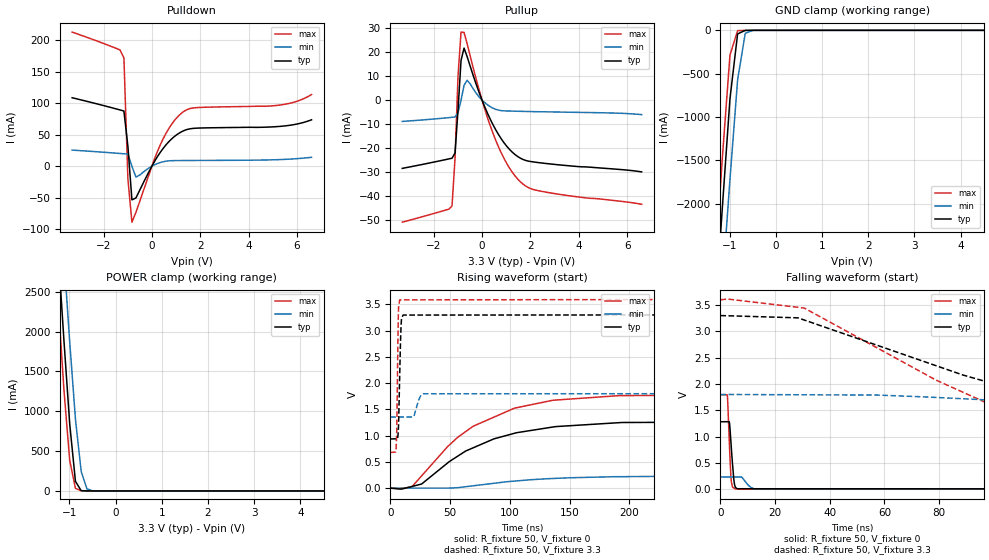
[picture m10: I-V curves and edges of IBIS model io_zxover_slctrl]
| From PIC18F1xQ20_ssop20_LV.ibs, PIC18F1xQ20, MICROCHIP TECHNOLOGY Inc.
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[Model] io_zxover_slctrl
Model_type I/O
Vinl  =  0.8
Vinh  =  2
| Capacitance   typ   min   max
C_comp   3.179356808695557e-12   3.178379229174377e-12   3.32087970022533e-12
[Model Spec]
| Subparameter   typ   min   max
Vinl   1.5   0.81   1.65
Vinh   3.6   1.89   3.85
Vmeas   2.5   1.35   2.75
| Variables   typ   min   max
[GND Clamp Reference]   0   0   0
[POWER Clamp Reference]   3.3   1.8   3.6
[Pulldown Reference]   0   0   0
[Pullup Reference]   3.3   1.8   3.6
[Temperature Range]   25   125   -40
[Voltage Range]   3.3   1.8   3.6
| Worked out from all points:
|   slope of the pulldown table from 0 to 0.495 V, typ, clamps not added: 16.7 ohm
|   slope of the pullup table from 0 to 0.495 V, typ, clamps not added: 44.8 ohm
|   GND clamp passes 1 mA (typ) near -0.66 V on its own axis
|   POWER clamp passes 1 mA (typ) near -0.65 V on its own axis
|   falling waveform, R_fixture 50, V_fixture 0: 20-80 % time 1.11ns typ, 2.39ns min, 875ps max; typ from 1.28 V to 0 V
|   falling waveform, R_fixture 50, V_fixture 3.3: 20-80 % time 95.4ns typ, 139ns min, 71ns max; typ from 3.3 V to 0.939 V
|   rising waveform, R_fixture 50, V_fixture 0: 20-80 % time 64.9ns typ, 68.4ns min, 64ns max; typ from 0 V to 1.28 V
|   rising waveform, R_fixture 50, V_fixture 3.3: 20-80 % time 1.47ns typ, 3.71ns min, 1ns max; typ from 0.936 V to 3.3 V
[GND Clamp]
| Voltage   I(typ)   I(min)   I(max)
-3.3V     -18.75A    -18.89A    -18.72A
-1.324V   -3.34A     -4.181A    -2.808A
-1.159V   -2.049A    -2.949A    -1.475A
-993.1mV  -789mA     -1.717A    -285.7mA
-827.6mV  -41.37mA   -570.8mA   -3.738mA
-662.1mV  -808.3uA   -33.96mA   -571.4uA
-496.6mV  -22.62uA   -517.7uA   -6.324uA
6.6V      0A         0A         0A
[POWER Clamp]
| Voltage   I(typ)   I(min)   I(max)
-3.3V     21.36A     21.68A     21.21A
-1.366V   4.096A     5.059A     3.499A
-1.241V   2.988A     3.993A     2.363A
-1.117V   1.881A     2.926A     1.262A
-993.1mV  841.2mA    1.869A     382.8mA
-869mV    120.4mA    901.8mA    32.94mA
-744.8mV  3.27mA     244.6mA    1.601mA
-620.7mV  391.9uA    25.72mA    457.5uA
-496.6mV  30.77uA    1.113mA    52.33uA
6.6V      0A         0A         0A
[Pulldown]
| Voltage   I(typ)   I(min)   I(max)
-3.3V     108.6mA    25.49mA    212.9mA
-1.324V   89.29mA    20.14mA    184.7mA
-1.159V   87.56mA    19.65mA    172mA
-993.1mV  31.31mA    19.13mA    -20.47mA
-827.6mV  -53.48mA   -119uA     -89.02mA
-662.1mV  -50.56mA   -17.42mA   -73.41mA
341.4mV   21.7mA     5.717mA    33.47mA
796.6mV   42.57mA    8.672mA    65.49mA
1.252V    55.15mA    8.913mA    85mA
1.821V    60.27mA    9.023mA    92.84mA
5.286V    63.12mA    10.42mA    97mA
6.6V      73.6mA     14.04mA    113.7mA
[Pullup]
| Voltage   I(typ)   I(min)   I(max)
-3.3V     -28.48mA   -8.873mA   -50.94mA
-1.241V   -24.24mA   -7.149mA   -44.13mA
-1.117V   -22.04mA   -7.014mA   -24.32mA
-993.1mV  -4.111mA   -5.253mA   10.18mA
-869mV    16.62mA    -22.02uA   28.43mA
-744.8mV  21.75mA    6.17mA     28.29mA
-620.7mV  18.28mA    8.308mA    23.71mA
455.2mV   -10.29mA   -3.355mA   -13.89mA
1.024V    -19.27mA   -4.499mA   -26.48mA
1.593V    -24.26mA   -4.657mA   -34.17mA
2.617V    -26.4mA    -4.86mA    -38.35mA
6.6V      -29.94mA   -6.039mA   -43.47mA
[Ramp]
dV/dt_r   0.768801/64.9006n  0.139526/68.3663n  1.07648/64.0031n
dV/dt_f   1.4163/95.4172n  0.266583/0.138771u  1.75181/70.9923n
R_load = 50
[Falling Waveform]
R_fixture = 50
V_fixture = 0
V_fixture_min = 0
V_fixture_max = 0
| Time   V(typ)   V(min)   V(max)
0s        1.281V     232.5mV    1.794V
2.563ns   1.282V     232.3mV    1.763V
3.307ns   1.263V     232.2mV    843.8mV
3.855ns   890.8mV    232.1mV    231.8mV
4.434ns   480.1mV    232.1mV    37.98mV
4.899ns   184.5mV    232mV      22.71mV
5.432ns   41.94mV    232mV      5.216mV
7.653ns   7.835mV    231.7mV    5.196mV
13.02ns   7.759mV    2.229mV    5.145mV
562.5ns   575.1nV    789.8nV    445.3nV
[Falling Waveform]
R_fixture = 50
V_fixture = 3.3
V_fixture_min = 1.8
V_fixture_max = 3.6
| Time   V(typ)   V(min)   V(max)
0s        3.3V       1.8V       3.6V
30.65ns   3.215V     1.794V     3.443V
78.91ns   2.346V     1.743V     2.071V
101.2ns   1.985V     1.687V     1.55V
122.3ns   1.701V     1.634V     1.16V
130.8ns   1.604V     1.613V     1.061V
164.9ns   1.276V     1.531V     876.5mV
235.3ns   1.053V     1.44V      766.4mV
346.4ns   968mV      1.38V      737.2mV
562.5ns   939.5mV    1.356V     680.3mV
[Rising Waveform]
R_fixture = 50
V_fixture = 0
V_fixture_min = 0
V_fixture_max = 0
| Time   V(typ)   V(min)   V(max)
0s        -67.1pV    6.782nV    -77.27pV
9.224ns   -19.59mV   251uV      -2.875mV
17.94ns   30.51mV    488.3uV    21.65mV
26.19ns   77.86mV    712.5uV    232.7mV
48.15ns   482.5mV    1.31mV     795.2mV
69.34ns   767.8mV    44.65mV    1.178V
103.9ns   1.044V     134mV      1.523V
136ns     1.164V     183.7mV    1.673V
191.6ns   1.247V     218.1mV    1.762V
562.5ns   1.281V     232.5mV    1.794V
[Rising Waveform]
R_fixture = 50
V_fixture = 3.3
V_fixture_min = 1.8
V_fixture_max = 3.6
| Time   V(typ)   V(min)   V(max)
0s        936.3mV    1.353V     678.2mV
4.846ns   939.4mV    1.353V     748.4mV
5.515ns   939.9mV    1.354V     1.229V
6.72ns    1.092V     1.354V     3.263V
7.872ns   2.129V     1.354V     3.585V
9.065ns   3.115V     1.354V     3.585V
10.76ns   3.296V     1.354V     3.585V
19.61ns   3.296V     1.364V     3.585V
27.55ns   3.296V     1.796V     3.585V
562.5ns   3.3V       1.8V       3.6V
